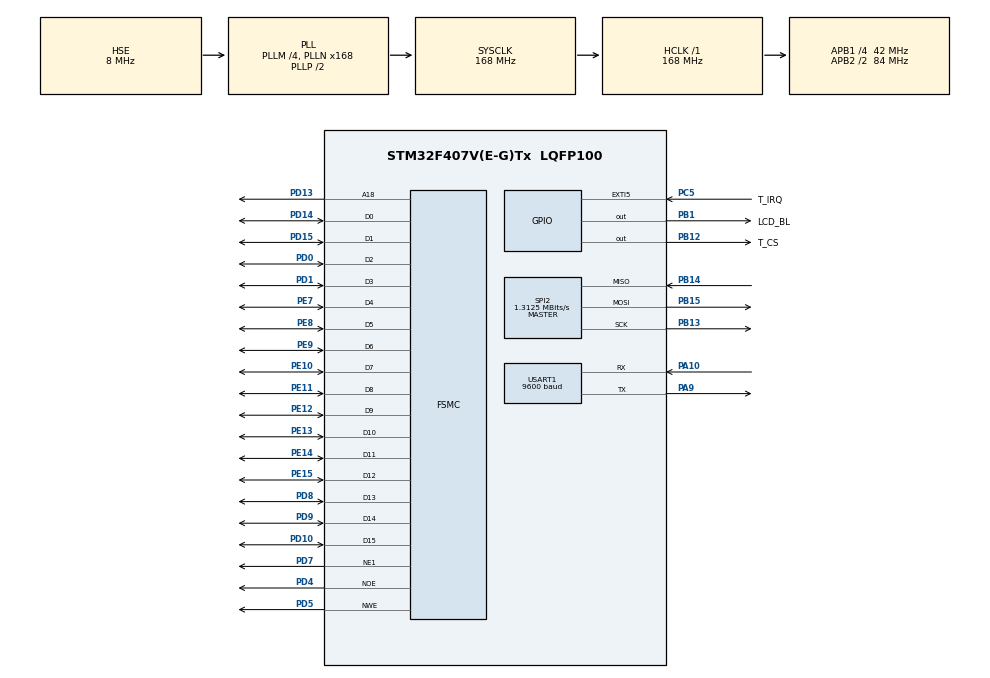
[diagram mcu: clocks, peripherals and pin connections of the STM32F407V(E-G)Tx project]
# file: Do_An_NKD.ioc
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FSMC.AddressSetupTime1=1
FSMC.BusTurnAroundDuration1=0
FSMC.DataSetupTime1=5
Mcu.Family=STM32F4
Mcu.Name=STM32F407V(E-G)Tx
Mcu.Package=LQFP100
NVIC.EXTI9_5_IRQn=true\:0\:0\:false\:false\:true\:true\:true\:true
NVIC.PriorityGroup=NVIC_PRIORITYGROUP_4
NVIC.USART1_IRQn=true\:0\:0\:false\:false\:true\:true\:true\:true
PA10.Mode=Asynchronous
PA10.Signal=USART1_RX
PA9.Mode=Asynchronous
PA9.Signal=USART1_TX
PB1.GPIO_Label=LCD_BL
PB1.Signal=GPIO_Output
PB12.GPIO_Label=T_CS
PB12.GPIO_PuPd=GPIO_PULLUP
PB12.GPIO_Speed=GPIO_SPEED_FREQ_HIGH
PB12.PinState=GPIO_PIN_SET
PB12.Signal=GPIO_Output
PB13.Mode=Full_Duplex_Master
PB13.Signal=SPI2_SCK
PB14.Mode=Full_Duplex_Master
PB14.Signal=SPI2_MISO
PB15.Mode=Full_Duplex_Master
PB15.Signal=SPI2_MOSI
PC5.GPIO_Label=T_IRQ
PC5.GPIO_ModeDefaultEXTI=GPIO_MODE_IT_FALLING
PC5.GPIO_PuPd=GPIO_PULLUP
PC5.Signal=GPXTI5
PD0.Mode=16b-d1
PD0.Signal=FSMC_D2
PD1.Mode=16b-d1
PD1.Signal=FSMC_D3
PD10.Mode=16b-d1
PD10.Signal=FSMC_D15
PD13.Mode=A18_1
PD13.Signal=FSMC_A18
PD14.Mode=16b-d1
PD14.Signal=FSMC_D0
PD15.Mode=16b-d1
PD15.Signal=FSMC_D1
PD4.Mode=Lcd1
PD4.Signal=FSMC_NOE
PD5.Mode=Lcd1
PD5.Signal=FSMC_NWE
PD7.Mode=NorPsramChipSelect1_1
PD7.Signal=FSMC_NE1
PD8.Mode=16b-d1
PD8.Signal=FSMC_D13
PD9.Mode=16b-d1
PD9.Signal=FSMC_D14
PE10.Mode=16b-d1
PE10.Signal=FSMC_D7
PE11.Mode=16b-d1
PE11.Signal=FSMC_D8
PE12.Mode=16b-d1
PE12.Signal=FSMC_D9
PE13.Mode=16b-d1
PE13.Signal=FSMC_D10
PE14.Mode=16b-d1
PE14.Signal=FSMC_D11
PE15.Mode=16b-d1
PE15.Signal=FSMC_D12
PE7.Mode=16b-d1
PE7.Signal=FSMC_D4
PE8.Mode=16b-d1
PE8.Signal=FSMC_D5
PE9.Mode=16b-d1
PE9.Signal=FSMC_D6
PH0-OSC_IN.Mode=HSE-External-Oscillator
PH0-OSC_IN.Signal=RCC_OSC_IN
PH1-OSC_OUT.Mode=HSE-External-Oscillator
PH1-OSC_OUT.Signal=RCC_OSC_OUT
ProjectManager.HeapSize=0x200
ProjectManager.StackSize=0x400
ProjectManager.TargetToolchain=STM32CubeIDE
RCC.48MHZClocksFreq_Value=84000000
RCC.AHBFreq_Value=168000000
RCC.APB1CLKDivider=RCC_HCLK_DIV4
RCC.APB1Freq_Value=42000000
RCC.APB1TimFreq_Value=84000000
RCC.APB2CLKDivider=RCC_HCLK_DIV2
RCC.APB2Freq_Value=84000000
RCC.APB2TimFreq_Value=168000000
RCC.CortexFreq_Value=168000000
RCC.HCLKFreq_Value=168000000
RCC.HSE_VALUE=8000000
RCC.HSI_VALUE=16000000
RCC.LSE_VALUE=32768
RCC.PLLM=4
RCC.PLLN=168
RCC.PLLSourceVirtual=RCC_PLLSOURCE_HSE
RCC.SYSCLKFreq_VALUE=168000000
RCC.SYSCLKSource=RCC_SYSCLKSOURCE_PLLCLK
RCC.VCOOutputFreq_Value=336000000
SPI2.BaudRatePrescaler=SPI_BAUDRATEPRESCALER_32
SPI2.CalculateBaudRate=1.3125 MBits/s
SPI2.Direction=SPI_DIRECTION_2LINES
SPI2.Mode=SPI_MODE_MASTER
SPI2.VirtualType=VM_MASTER
USART1.BaudRate=9600
USART1.VirtualMode=VM_ASYNC
board=custom

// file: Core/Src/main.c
/* USER CODE BEGIN Header */
/**
  ******************************************************************************
  * @file           : main.c
  * @brief          : Main program body
  ******************************************************************************
  * @attention
  *
  * Copyright (c) 2024 STMicroelectronics.
  * All rights reserved.
  *
  * This software is licensed under terms that can be found in the LICENSE file
  * in the root directory of this software component.
  * If no LICENSE file comes with this software, it is provided AS-IS.
  *
  ******************************************************************************
  */
/* USER CODE END Header */
#include "main.h"

/* USER CODE BEGIN Includes */
#include "ili9341.h"
#include <time.h>
#include <stdlib.h>
#include <cJSON.h>
#include <string.h>
#include "XPT2046_touch.h"
#include <stdio.h>
/* USER CODE END Includes */

/* USER CODE BEGIN PD */
#define min(a,b) (((a)<(b))?(a):(b))
#define BUFFER_SIZE 1024
#define PORTRAIT 0
#define NOBACKCOLOR 0
#define NHATRANG 0
#define SAIGON 1
#define HANOI 2
#define TAMPERE 3
#define ARNHEM 4
#define SYDNEY 5
#define MAX_PASSWORD_LENGTH 32
#define MAX_NETWORKS 12
#define MAX_SSID_LENGTH 32
/* USER CODE END PD */

SPI_HandleTypeDef hspi2;

UART_HandleTypeDef huart1;

SRAM_HandleTypeDef hsram1;

/* USER CODE BEGIN PV */
//URLs to call API
const char* nhaTrangURL = "http://api.open-meteo.com/v1/forecast?latitude=12.2451&longitude=109.1943&current=temperature_2m,relative_humidity_2m,is_day&daily=weather_code&timezone=auto\r\n";
const char* saiGonURL = "http://api.open-meteo.com/v1/forecast?latitude=10.823&longitude=106.6296&current=temperature_2m,relative_humidity_2m,is_day&daily=weather_code&timezone=auto\r\n";
const char* haNoiURL = "http://api.open-meteo.com/v1/forecast?latitude=20.9714&longitude=105.7788&current=temperature_2m,relative_humidity_2m,is_day&daily=weather_code&timezone=auto\r\n";
const char* tampereURL = "http://api.open-meteo.com/v1/forecast?latitude=61.4991&longitude=23.7871&current=temperature_2m,relative_humidity_2m,is_day&daily=weather_code&timezone=auto\r\n";
const char* arnhemURL = "http://api.open-meteo.com/v1/forecast?latitude=51.98&longitude=5.9111&current=temperature_2m,relative_humidity_2m,is_day&daily=weather_code&timezone=auto\r\n";
const char* sydneyURL = "http://api.open-meteo.com/v1/forecast?latitude=-33.8678&longitude=151.2073&current=temperature_2m,relative_humidity_2m,is_day&daily=weather_code&timezone=auto\r\n";

//Request for garden info
const char* requestGardenInfo = "!";

//Variables for handling received UART data
uint8_t tempBuffer[1];
uint8_t rxBuffer[BUFFER_SIZE];
uint16_t rxIndex = 0;
uint8_t rxComplete = 0;

//Variables for switching between UIs
uint16_t xCoordinates = 0, yCoordinates = 0;
uint8_t wifiList = 0;
uint8_t wifiConnect = 0;
uint8_t weatherForecast = 0;
uint8_t showWeather = 0;
uint8_t gardenState = 0;
uint8_t showGardenState = 0;
uint8_t menu = 1;
bool allowTouch = true;

//Variables for weather data handling
int weather[7];
int currentTemperature = 0;
int currentHumidity = 0;
int currentCity = 0;
uint16_t weatherIndex = 0;
uint16_t dateIndex = 0;
uint8_t processComplete = 0;
uint8_t isDay = 0;
char* date[7];

//Request for wifi info
const char* requestWifiInfo = "#";

//Variables for wifi menu
typedef struct
{
    char ssid[MAX_SSID_LENGTH];
    int secure;
} WiFiNetwork;
WiFiNetwork networkList[MAX_NETWORKS];
int networkCount = 0;
char wifiPassword[MAX_PASSWORD_LENGTH + 1] = {0};
char selectedSSID[MAX_SSID_LENGTH];
char wifiConnectionInfo[100];
uint8_t passwordIndex = 0;
const char* keyMap[] =
{
	"1", "2", "3", "4", "5", "6", "7", "8", "9", "0",
	"q", "w", "e", "r", "t", "y", "u", "i", "o", "p",
    "a", "s", "d", "f", "g", "h", "j", "k", "l", "<-",
    "z", "x", "c", "v", "b", "n", "m", "^", "Del", "Del"
};
bool keyboardShift = false;
const uint16_t keyboardX0 = 0;
const uint16_t keyboardY0 = 200;
const uint16_t keyboardButtonWidth = 24;
const uint16_t keyboardButtonHeight = 30;

//Variables for garden state
int gardenTemperature = 0;
int gardenHumidity = 0;
/* USER CODE END PV */

void SystemClock_Config(void);
static void MX_GPIO_Init(void);
static void MX_FSMC_Init(void);
static void MX_USART1_UART_Init(void);
static void MX_SPI2_Init(void);

/* USER CODE BEGIN 0 */
void drawBackIcon();
void drawKeyboard();
char applyShift(char character);
void handleKeyboardTouch();
void handleWifiListTouch();
void updatePassword();
void wifiMenu();
void connectToWifi();
void weatherForecastMenu();
void gardenStateMenu();
void mainMenu();
void drawBufferScreen();
void checkCoordinates();
void drawWeather(uint16_t xPosition, uint16_t yPosition, int weatherCode);
void weatherForecastInterface();
void gardenStateInterface();
void drawInterface();
void reformatDate();
void sendAPIURL(uint16_t chooseCity);
void sendGardenStateRequest();
void sendWifiRequest();
void HAL_UART_RxCpltCallback(UART_HandleTypeDef *huart);
void processData(const char *jsonData);
void HAL_GPIO_EXTI_Callback(uint16_t GPIO_Pin);
void resetBuffer();
void resetPassword();
/* USER CODE END 0 */

int main(void)
{

  /* MCU Configuration--------------------------------------------------------*/

  /* Reset of all peripherals, Initializes the Flash interface and the Systick. */
  HAL_Init();

  /* Configure the system clock */
  SystemClock_Config();

  /* Initialize all configured peripherals */
  MX_GPIO_Init();
  MX_FSMC_Init();
  MX_USART1_UART_Init();
  MX_SPI2_Init();
  /* USER CODE BEGIN 2 */
  LCD_BL_ON();
  lcdInit();
  lcdSetOrientation(PORTRAIT);
  HAL_UART_Receive_IT(&huart1, (uint8_t*)tempBuffer, 1);
  mainMenu();
  /* USER CODE END 2 */

  /* Infinite loop */
  /* USER CODE BEGIN WHILE */
  while (1)
  {
	  allowTouch = true;
	  if(rxComplete)
	  {
		  rxComplete = 0;
		  rxIndex = 0;
		  processData((const char*) rxBuffer);
		  if (processComplete)
		  {
			  processComplete = 0;
			  weatherIndex = 0;
			  dateIndex = 0;
			  drawInterface();
		  }
		  resetBuffer();
		  HAL_UART_Receive_IT(&huart1, (uint8_t*)tempBuffer, 1);
	  }
	  HAL_Delay(500);
    /* USER CODE END WHILE */

  }
}

void SystemClock_Config(void)
{
  RCC_OscInitTypeDef RCC_OscInitStruct = {0};
  RCC_ClkInitTypeDef RCC_ClkInitStruct = {0};

  /** Configure the main internal regulator output voltage
  */
  __HAL_RCC_PWR_CLK_ENABLE();
  __HAL_PWR_VOLTAGESCALING_CONFIG(PWR_REGULATOR_VOLTAGE_SCALE1);

  /** Initializes the RCC Oscillators according to the specified parameters
  * in the RCC_OscInitTypeDef structure.
  */
  RCC_OscInitStruct.OscillatorType = RCC_OSCILLATORTYPE_HSE;
  RCC_OscInitStruct.HSEState = RCC_HSE_ON;
  RCC_OscInitStruct.PLL.PLLState = RCC_PLL_ON;
  RCC_OscInitStruct.PLL.PLLSource = RCC_PLLSOURCE_HSE;
  RCC_OscInitStruct.PLL.PLLM = 4;
  RCC_OscInitStruct.PLL.PLLN = 168;
  RCC_OscInitStruct.PLL.PLLP = RCC_PLLP_DIV2;
  RCC_OscInitStruct.PLL.PLLQ = 4;
  if (HAL_RCC_OscConfig(&RCC_OscInitStruct) != HAL_OK)
  {
    Error_Handler();
  }

  /** Initializes the CPU, AHB and APB buses clocks
  */
  RCC_ClkInitStruct.ClockType = RCC_CLOCKTYPE_HCLK|RCC_CLOCKTYPE_SYSCLK
                              |RCC_CLOCKTYPE_PCLK1|RCC_CLOCKTYPE_PCLK2;
  RCC_ClkInitStruct.SYSCLKSource = RCC_SYSCLKSOURCE_PLLCLK;
  RCC_ClkInitStruct.AHBCLKDivider = RCC_SYSCLK_DIV1;
  RCC_ClkInitStruct.APB1CLKDivider = RCC_HCLK_DIV4;
  RCC_ClkInitStruct.APB2CLKDivider = RCC_HCLK_DIV2;

  if (HAL_RCC_ClockConfig(&RCC_ClkInitStruct, FLASH_LATENCY_5) != HAL_OK)
  {
    Error_Handler();
  }
}

static void MX_SPI2_Init(void)
{

  /* SPI2 parameter configuration*/
  hspi2.Instance = SPI2;
  hspi2.Init.Mode = SPI_MODE_MASTER;
  hspi2.Init.Direction = SPI_DIRECTION_2LINES;
  hspi2.Init.DataSize = SPI_DATASIZE_8BIT;
  hspi2.Init.CLKPolarity = SPI_POLARITY_LOW;
  hspi2.Init.CLKPhase = SPI_PHASE_1EDGE;
  hspi2.Init.NSS = SPI_NSS_SOFT;
  hspi2.Init.BaudRatePrescaler = SPI_BAUDRATEPRESCALER_32;
  hspi2.Init.FirstBit = SPI_FIRSTBIT_MSB;
  hspi2.Init.TIMode = SPI_TIMODE_DISABLE;
  hspi2.Init.CRCCalculation = SPI_CRCCALCULATION_DISABLE;
  hspi2.Init.CRCPolynomial = 10;
  if (HAL_SPI_Init(&hspi2) != HAL_OK)
  {
    Error_Handler();
  }

}

static void MX_USART1_UART_Init(void)
{

  huart1.Instance = USART1;
  huart1.Init.BaudRate = 9600;
  huart1.Init.WordLength = UART_WORDLENGTH_8B;
  huart1.Init.StopBits = UART_STOPBITS_1;
  huart1.Init.Parity = UART_PARITY_NONE;
  huart1.Init.Mode = UART_MODE_TX_RX;
  huart1.Init.HwFlowCtl = UART_HWCONTROL_NONE;
  huart1.Init.OverSampling = UART_OVERSAMPLING_16;
  if (HAL_UART_Init(&huart1) != HAL_OK)
  {
    Error_Handler();
  }

}

static void MX_GPIO_Init(void)
{
  GPIO_InitTypeDef GPIO_InitStruct = {0};

  /* GPIO Ports Clock Enable */
  __HAL_RCC_GPIOH_CLK_ENABLE();
  __HAL_RCC_GPIOC_CLK_ENABLE();
  __HAL_RCC_GPIOB_CLK_ENABLE();
  __HAL_RCC_GPIOE_CLK_ENABLE();
  __HAL_RCC_GPIOD_CLK_ENABLE();
  __HAL_RCC_GPIOA_CLK_ENABLE();

  /*Configure GPIO pin Output Level */
  HAL_GPIO_WritePin(LCD_BL_GPIO_Port, LCD_BL_Pin, GPIO_PIN_RESET);

  /*Configure GPIO pin Output Level */
  HAL_GPIO_WritePin(T_CS_GPIO_Port, T_CS_Pin, GPIO_PIN_SET);

  /*Configure GPIO pin : T_IRQ_Pin */
  GPIO_InitStruct.Pin = T_IRQ_Pin;
  GPIO_InitStruct.Mode = GPIO_MODE_IT_FALLING;
  GPIO_InitStruct.Pull = GPIO_PULLUP;
  HAL_GPIO_Init(T_IRQ_GPIO_Port, &GPIO_InitStruct);

  /*Configure GPIO pin : LCD_BL_Pin */
  GPIO_InitStruct.Pin = LCD_BL_Pin;
  GPIO_InitStruct.Mode = GPIO_MODE_OUTPUT_PP;
  GPIO_InitStruct.Pull = GPIO_NOPULL;
  GPIO_InitStruct.Speed = GPIO_SPEED_FREQ_LOW;
  HAL_GPIO_Init(LCD_BL_GPIO_Port, &GPIO_InitStruct);

  /*Configure GPIO pin : T_CS_Pin */
  GPIO_InitStruct.Pin = T_CS_Pin;
  GPIO_InitStruct.Mode = GPIO_MODE_OUTPUT_PP;
  GPIO_InitStruct.Pull = GPIO_PULLUP;
  GPIO_InitStruct.Speed = GPIO_SPEED_FREQ_HIGH;
  HAL_GPIO_Init(T_CS_GPIO_Port, &GPIO_InitStruct);

  /* EXTI interrupt init*/
  HAL_NVIC_SetPriority(EXTI9_5_IRQn, 0, 0);
  HAL_NVIC_EnableIRQ(EXTI9_5_IRQn);

}

/* FSMC initialization function */
static void MX_FSMC_Init(void)
{

  FSMC_NORSRAM_TimingTypeDef Timing = {0};

  /** Perform the SRAM1 memory initialization sequence
  */
  hsram1.Instance = FSMC_NORSRAM_DEVICE;
  hsram1.Extended = FSMC_NORSRAM_EXTENDED_DEVICE;
  /* hsram1.Init */
  hsram1.Init.NSBank = FSMC_NORSRAM_BANK1;
  hsram1.Init.DataAddressMux = FSMC_DATA_ADDRESS_MUX_DISABLE;
  hsram1.Init.MemoryType = FSMC_MEMORY_TYPE_SRAM;
  hsram1.Init.MemoryDataWidth = FSMC_NORSRAM_MEM_BUS_WIDTH_16;
  hsram1.Init.BurstAccessMode = FSMC_BURST_ACCESS_MODE_DISABLE;
  hsram1.Init.WaitSignalPolarity = FSMC_WAIT_SIGNAL_POLARITY_LOW;
  hsram1.Init.WrapMode = FSMC_WRAP_MODE_DISABLE;
  hsram1.Init.WaitSignalActive = FSMC_WAIT_TIMING_BEFORE_WS;
  hsram1.Init.WriteOperation = FSMC_WRITE_OPERATION_ENABLE;
  hsram1.Init.WaitSignal = FSMC_WAIT_SIGNAL_DISABLE;
  hsram1.Init.ExtendedMode = FSMC_EXTENDED_MODE_DISABLE;
  hsram1.Init.AsynchronousWait = FSMC_ASYNCHRONOUS_WAIT_DISABLE;
  hsram1.Init.WriteBurst = FSMC_WRITE_BURST_DISABLE;
  hsram1.Init.PageSize = FSMC_PAGE_SIZE_NONE;
  /* Timing */
  Timing.AddressSetupTime = 1;
  Timing.AddressHoldTime = 15;
  Timing.DataSetupTime = 5;
  Timing.BusTurnAroundDuration = 0;
  Timing.CLKDivision = 16;
  Timing.DataLatency = 17;
  Timing.AccessMode = FSMC_ACCESS_MODE_A;
  /* ExtTiming */

  if (HAL_SRAM_Init(&hsram1, &Timing, NULL) != HAL_OK)
  {
    Error_Handler( );
  }

}

/* USER CODE BEGIN 4 */
void drawBackIcon()
{
	lcdFillRoundRect(0, 0, 27, 23, 8, COLOR_WHITE);
	lcdFillRect(10, 7, 13, 8, COLOR_BLACK);
	lcdFillTriangle(1, 11, 13, 2, 13, 20, COLOR_BLACK);
}

void drawKeyboard()
{
	lcdSetTextFont(&Font12);
	lcdSetTextColor(COLOR_BLACK, COLOR_BLACK);
	for (int y = 200; y < 320; y++)
	{
		for (int x = 0; x < 240; x++)
		{
			lcdDrawPixel(x, y, COLOR_WHITE);
		}
	}
    int column = 0, row = 0;

    for (int i = 0; i < (sizeof(keyMap) / sizeof(keyMap[0])) - 1; i++)
    {
    	int x = keyboardX0 + column * keyboardButtonWidth;
    	int y = keyboardY0 + row * keyboardButtonHeight;
        lcdSetCursor(x + 8, y + 10);
        lcdPrintfNoBackColor((char*)keyMap[i]);

        column++;
        if (column == 10)
        {
            column = 0;
            row++;
        }
    }
    lcdDrawLine(0, 230, 240, 230, COLOR_BLACK);
    lcdDrawLine(0, 260, 240, 260, COLOR_BLACK);
    lcdDrawLine(0, 290, 240, 290, COLOR_BLACK);
    lcdDrawLine(0, 200, 240, 200, COLOR_BLACK);
    for (int i = 1; i <= 8; i++)
    {
    	int x = keyboardX0 + i * keyboardButtonWidth;
    	lcdDrawLine(x, 200, x, 320, COLOR_BLACK);
    }
    lcdDrawLine(216, 200, 216, 290, COLOR_BLACK);
    lcdDrawLine(239, 230, 239, 320, COLOR_BLACK);
}

char applyShift(char character)
{
    if (character >= 'a' && character <= 'z')
    {
        return character - ('a' - 'A');
    }
    return character;
}

void handleKeyboardTouch()
{
	if ((yCoordinates <= 23 && xCoordinates <= 27) && wifiConnect == 1)
	{
		wifiMenu();
		return;
	}
	lcdSetTextColor(COLOR_WHITE, COLOR_BLACK);
	uint8_t column = (xCoordinates - keyboardX0) / keyboardButtonWidth;
	if (xCoordinates == 240)
	{
		column = (xCoordinates - keyboardX0 - 1) / keyboardButtonWidth;
	}
    uint8_t row = (yCoordinates - keyboardY0) / keyboardButtonHeight;
    uint8_t keyIndex = row * 10 + column;
    if (keyIndex >= sizeof(keyMap) / sizeof(keyMap[0])) return;

    const char* key = keyMap[keyIndex];
    if (strcmp(key, "Del") == 0)
    {
    	if (passwordIndex > 0)
    	{
    		passwordIndex--;
    		wifiPassword[passwordIndex] = '\0';
    	}
    }
    else if (strcmp(key, "^") == 0)
    {
        keyboardShift = !keyboardShift;
    }
    else if (strcmp(key, "<-") == 0)
    {
    	sprintf(wifiConnectionInfo, "{\"ssid\":\"%s\", \"password\":\"%s\"}+", selectedSSID, wifiPassword);
    	HAL_UART_Transmit(&huart1, (uint8_t*)wifiConnectionInfo, strlen(wifiConnectionInfo), HAL_MAX_DELAY);
    	resetPassword();
    	drawAlignedText("Sent info, exit this screen then", 115, 240, 12, NOBACKCOLOR);
    	drawAlignedText("reconnect if typed password wrong", 130, 240, 12, NOBACKCOLOR);
    }
    else if (passwordIndex <= MAX_PASSWORD_LENGTH)
    {
    	char character = key[0];
    	if (keyboardShift)
    	{
    	    character = applyShift(character);
    	}
    	wifiPassword[passwordIndex++] = character;
    	wifiPassword[passwordIndex] = '\0';
    }
    updatePassword();
    drawAlignedText(wifiPassword, 100, 240, 12, NOBACKCOLOR);
}

void handleWifiListTouch()
{
	if ((yCoordinates <= 23 && xCoordinates <= 27) && wifiList == 1)
	{
		mainMenu();
		return;
	}
	uint8_t column = xCoordinates / 120;
	uint8_t row = (yCoordinates - 25) / 50;
	strncpy(selectedSSID, networkList[row + column * 6].ssid, MAX_SSID_LENGTH - 1);
	selectedSSID[MAX_SSID_LENGTH - 1] = '\0';
	connectToWifi();
}

void updatePassword()
{
	for (int y = 100; y < 115; y++)
	{
		for (int x = 0; x < 240; x++)
		{
			lcdDrawPixel(x, y, COLOR_BLACK);
		}
	}
}

void wifiMenu()
{
	lcdFillRGB(COLOR_BLACK);
	lcdSetTextColor(COLOR_BLACK, COLOR_BLACK);
	lcdSetTextFont(&Font12);
	drawBackIcon();
	wifiList = 1;
	wifiConnect = 0;
	menu = 0;
	for (int i = 0; i < networkCount / 2; i++)
	{
		lcdFillRoundRect(0, 25 + 50 * i, 118, 45, 10, COLOR_WHITE);
		drawAlignedText(networkList[i].ssid, 45 + 50 * i, 120, 12, NOBACKCOLOR);
		lcdFillRoundRect(120, 25 + 50 * i, 122, 45, 10, COLOR_WHITE);
		drawAlignedText(networkList[i + 6].ssid, 45 + 50 * i, 360, 12, NOBACKCOLOR);
	}
	resetPassword();
}

void connectToWifi()
{
	lcdFillRGB(COLOR_BLACK);
	drawKeyboard();
	lcdSetTextColor(COLOR_WHITE, COLOR_BLACK);
	drawBackIcon();
	wifiList = 0;
	wifiConnect = 1;
	drawAlignedText("Wifi name", 55, 240, 12, NOBACKCOLOR);
	drawAlignedText(selectedSSID, 70, 240, 12, NOBACKCOLOR);
	drawAlignedText("Enter password", 85, 240, 12, NOBACKCOLOR);
}

void weatherForecastMenu()
{
	lcdSetTextFont(&Font16);
	lcdSetTextColor(COLOR_WHITE, COLOR_BLACK);
	lcdFillRGB(COLOR_BLACK);
	drawBackIcon();
	weatherForecast = 1;
	showWeather = 0;
	menu = 0;
	drawAlignedText(" Choose a location", 0, 240, 16, NOBACKCOLOR);

	lcdSetTextColor(COLOR_BLACK, COLOR_BLACK);
	lcdFillRoundRect(0, 32, 240, 40, 10, COLOR_WHITE);
	drawAlignedText("Sai Gon", 45, 240, 16, NOBACKCOLOR);

	lcdFillRoundRect(0, 80, 240, 40, 10, COLOR_WHITE);
	drawAlignedText("Nha Trang", 93, 240, 16, NOBACKCOLOR);

	lcdFillRoundRect(0, 128, 240, 40, 10, COLOR_WHITE);
	drawAlignedText("Ha Noi", 141, 240, 16, NOBACKCOLOR);

	lcdFillRoundRect(0, 176, 240, 40, 10, COLOR_WHITE);
	drawAlignedText("Tampere", 189, 240, 16, NOBACKCOLOR);

	lcdFillRoundRect(0, 224, 240, 40, 10, COLOR_WHITE);
	drawAlignedText("Arnhem", 237, 240, 16, NOBACKCOLOR);

	lcdFillRoundRect(0, 272, 240, 40, 10, COLOR_WHITE);
	drawAlignedText("Sydney", 285, 240, 16, NOBACKCOLOR);
}

void gardenStateMenu()
{
	lcdSetTextFont(&Font16);
	lcdSetTextColor(COLOR_WHITE, COLOR_BLACK);
	lcdFillRGB(COLOR_BLACK);
	drawBackIcon();
	gardenState = 1;
	showGardenState = 0;
	menu = 0;
	drawAlignedText(" Choose a garden", 0, 240, 16, NOBACKCOLOR);

	lcdSetTextColor(COLOR_BLACK, COLOR_BLACK);
	lcdFillRoundRect(0, 32, 240, 40, 10, COLOR_WHITE);
	drawAlignedText("Phu Nhuan", 45, 240, 16, NOBACKCOLOR);
}

void mainMenu()
{
	lcdSetTextFont(&Font16);
	lcdSetTextColor(COLOR_WHITE, COLOR_BLACK);
	lcdFillRGB(COLOR_BLACK);
	menu = 1;
	gardenState = 0;
	weatherForecast = 0;
	wifiList = 0;
	drawAlignedText("Choose an option", 0, 240, 16, NOBACKCOLOR);

	lcdSetTextColor(COLOR_BLACK, COLOR_BLACK);
	lcdFillRoundRect(0, 32, 240, 40, 10, COLOR_WHITE);
	drawAlignedText("Connect to WiFi", 45, 240, 16, NOBACKCOLOR);

	lcdFillRoundRect(0, 80, 240, 40, 10, COLOR_WHITE);
	drawAlignedText("Weather forecast", 93, 240, 16, NOBACKCOLOR);

	lcdFillRoundRect(0, 128, 240, 40, 10, COLOR_WHITE);
	drawAlignedText("Show garden state", 141, 240, 16, NOBACKCOLOR);
}

void drawBufferScreen()
{
	menu = 0;
	lcdFillRGB(COLOR_BLACK);
	drawBackIcon();
	lcdSetTextColor(COLOR_WHITE, COLOR_BLACK);
	drawAlignedText("Fetching data", 160, 240, 16, NOBACKCOLOR);
}

void checkCoordinates()
{
	if ((yCoordinates >= 32 && yCoordinates <= 72) && menu == 1)
	{
		drawBufferScreen();
		sendWifiRequest();
		wifiList = 1;
	}
	else if ((yCoordinates >= 80 && yCoordinates <= 120 && menu == 1) || (yCoordinates <= 23 && xCoordinates <= 27 && showWeather == 1))
	{
		weatherForecastMenu();
	}
	else if ((yCoordinates >= 128 && yCoordinates <= 168 && menu == 1) || (yCoordinates <= 23 && xCoordinates <= 27 && showGardenState == 1))
	{
		gardenStateMenu();
	}
	else if ((yCoordinates <= 23 && xCoordinates <= 27) && menu != 1)
	{
		mainMenu();
	}
	else if ((yCoordinates >= 32 && yCoordinates <= 72) && weatherForecast == 1)
	{
		drawBufferScreen();
		sendAPIURL(SAIGON);
		currentCity = SAIGON;
	}
	else if ((yCoordinates >= 80 && yCoordinates <= 120) && weatherForecast == 1)
	{
		drawBufferScreen();
		sendAPIURL(NHATRANG);
		currentCity = NHATRANG;
	}
	else if ((yCoordinates >= 128 && yCoordinates <= 168) && weatherForecast == 1)
	{
		drawBufferScreen();
		sendAPIURL(HANOI);
		currentCity = HANOI;
	}
	else if ((yCoordinates >= 176 && yCoordinates <= 216) && weatherForecast == 1)
	{
		drawBufferScreen();
		sendAPIURL(TAMPERE);
		currentCity = TAMPERE;
	}
	else if ((yCoordinates >= 224 && yCoordinates <= 264) && weatherForecast == 1)
	{
		drawBufferScreen();
		sendAPIURL(ARNHEM);
		currentCity = ARNHEM;
	}
	else if ((yCoordinates >= 272 && yCoordinates <= 312) && weatherForecast == 1)
	{
		drawBufferScreen();
		sendAPIURL(SYDNEY);
		currentCity = SYDNEY;
	}

	else if ((yCoordinates >= 32 && yCoordinates <= 72) && gardenState == 1)
	{
		drawBufferScreen();
		sendGardenStateRequest();
	}
}

void drawWeather(uint16_t xPosition, uint16_t yPosition, int weatherCode)
{
	if (weatherCode == 0)
	{
		drawClearDay(xPosition, yPosition);
	}
	else if (weatherCode >= 1 && weatherCode <= 3)
	{
		drawCloudyDay(xPosition, yPosition);
	}
	else if ((weatherCode >= 51 && weatherCode <= 67) || (weatherCode >= 80 && weatherCode <= 82))
	{
		drawRainyDay(xPosition, yPosition);
	}
	else if ((weatherCode >= 71 && weatherCode <= 77) || (weatherCode == 85 || weatherCode == 86))
	{
		drawSnowyDay(xPosition, yPosition);
	}
	else if (weatherCode >= 95 && weatherCode <= 99)
	{
		drawStormyDay(xPosition, yPosition);
	}
	else if (weatherCode == 45 || weatherCode == 48)
	{
		drawFoggyDay(xPosition, yPosition);
	}
}

void weatherForecastInterface()
{
	showWeather = 1;
	uint16_t color;
	if (isDay == 0)
	{
		lcdDrawImage(0, 0, &imageNight);
		color = COLOR_NAVY;
		lcdSetTextColor(COLOR_WHITE, COLOR_BLACK);
	}
	else
	{
		lcdDrawImage(0, 0, &imageDay);
		color = COLOR_CYAN;
		lcdSetTextColor(COLOR_BLACK, COLOR_BLACK);
	}
	drawBackIcon();

	for (int y = 160; y < 320; y++)
	{
		for (int x = 0; x < 240; x++)
		{
		    lcdDrawPixel(x, y, color);
		}
	}

	lcdSetTextFont(&Font12);

	reformatDate();

	drawWeather(40, 190, weather[0]);
	lcdSetCursor(25, 160);
	lcdPrintfNoBackColor(date[0]);

	drawWeather(90, 190, weather[1]);
	lcdSetCursor(75, 160);
	lcdPrintfNoBackColor(date[1]);

	drawWeather(150, 190, weather[2]);
	lcdSetCursor(135, 160);
	lcdPrintfNoBackColor(date[2]);

	drawWeather(200, 190, weather[3]);
	lcdSetCursor(185, 160);
	lcdPrintfNoBackColor(date[3]);

	drawWeather(65, 270, weather[4]);
	lcdSetCursor(50, 240);
	lcdPrintfNoBackColor(date[4]);

	drawWeather(120, 270, weather[5]);
	lcdSetCursor(105, 240);
	lcdPrintfNoBackColor(date[5]);

	drawWeather(175, 270, weather[6]);
	lcdSetCursor(160, 240);
	lcdPrintfNoBackColor(date[6]);

	lcdSetCursor(80, 110);
	lcdPrintfNoBackColor("Humidity: %d%%", currentHumidity);
	lcdSetTextFont(&Font20);
	lcdSetCursor(110, 90);
	lcdPrintfNoBackColor("%d", currentTemperature);

	switch (currentCity)
	{
		case NHATRANG:
			drawAlignedText("Nha Trang", 10, 240, 16, NOBACKCOLOR);
			break;
		case SAIGON:
			drawAlignedText("Sai Gon", 10, 240, 16, NOBACKCOLOR);
			break;
		case HANOI:
			drawAlignedText("Ha Noi", 10, 240, 16, NOBACKCOLOR);
			break;
		case TAMPERE:
			drawAlignedText("Tampere", 10, 240, 16, NOBACKCOLOR);
			break;
		case ARNHEM:
			drawAlignedText("Arnhem", 10, 240, 16, NOBACKCOLOR);
			break;
		case SYDNEY:
			drawAlignedText("Sydney", 10, 240, 16, NOBACKCOLOR);
			break;
	}
}

void gardenStateInterface()
{
	showGardenState = 1;
	lcdDrawImage(0, 0, &imageDay);
	lcdSetTextColor(COLOR_BLACK, COLOR_BLACK);
	drawBackIcon();
	for (int y = 160; y < 320; y++)
	{
		for (int x = 0; x < 240; x++)
		{
			lcdDrawPixel(x, y, COLOR_CYAN);
		}
	}
	lcdSetTextFont(&Font20);
	lcdSetCursor(110, 90);
	lcdPrintfNoBackColor("%d", gardenTemperature);
	lcdSetTextFont(&Font12);
	lcdSetCursor(80, 110);
	lcdPrintfNoBackColor("Humidity: %d%%", gardenHumidity);
	drawAlignedText("Currently in: Phu Nhuan", 10, 240, 12, NOBACKCOLOR);
	if (gardenHumidity <= 80 || gardenTemperature >= 30)
	{
		drawAlignedText("Please water your garden!", 240, 240, 12, NOBACKCOLOR);
		if (gardenHumidity <= 80)
		{
			drawAlignedText("Problem: Low humidity", 270, 240, 12, NOBACKCOLOR);
			return;
		}
		drawAlignedText("Problem: High temperature", 270, 240, 12, NOBACKCOLOR);
	}
}

void drawInterface()
{
	if (wifiList == 1)
	{
		wifiMenu();
	}
	else if (weatherForecast == 1)
	{
		weatherForecastInterface();
	}
	else if (gardenState == 1)
	{
		gardenStateInterface();
	}
}

void reformatDate()
{
	char temp[6];
	for (int i = 0; i < 7; i++)
	{
	    if (date[i])
	    {
	        strncpy(temp, &date[i][8], 2);
	        temp[2] = '-';
	        strncpy(&temp[3], &date[i][5], 2);
	        temp[5] = '\0';
	        strcpy(date[i], temp);
	    }
	}
}

void sendAPIURL(uint16_t chooseCity)
{
    switch(chooseCity)
    {
    	case NHATRANG:
    		HAL_UART_Transmit(&huart1, (uint8_t*)nhaTrangURL, strlen(nhaTrangURL), HAL_MAX_DELAY);
    		break;
    	case SAIGON:
    		HAL_UART_Transmit(&huart1, (uint8_t*)saiGonURL, strlen(saiGonURL), HAL_MAX_DELAY);
    		break;
    	case HANOI:
    		HAL_UART_Transmit(&huart1, (uint8_t*)haNoiURL, strlen(haNoiURL), HAL_MAX_DELAY);
    		break;
    	case TAMPERE:
    		HAL_UART_Transmit(&huart1, (uint8_t*)tampereURL, strlen(tampereURL), HAL_MAX_DELAY);
    		break;
    	case ARNHEM:
    		HAL_UART_Transmit(&huart1, (uint8_t*)arnhemURL, strlen(arnhemURL), HAL_MAX_DELAY);
    		break;
    	case SYDNEY:
    		HAL_UART_Transmit(&huart1, (uint8_t*)sydneyURL, strlen(sydneyURL), HAL_MAX_DELAY);
    		break;
    }
}

void sendGardenStateRequest()
{
	HAL_UART_Transmit(&huart1, (uint8_t*)requestGardenInfo, strlen(requestGardenInfo), HAL_MAX_DELAY);
}

void sendWifiRequest()
{
	HAL_UART_Transmit(&huart1, (uint8_t*)requestWifiInfo, strlen(requestWifiInfo), HAL_MAX_DELAY);
}

void HAL_UART_RxCpltCallback(UART_HandleTypeDef *huart)
{
	if (rxIndex < BUFFER_SIZE - 1)
	{
		if (tempBuffer[0] == '!')
		{
			rxComplete = 1;
			return;
		}
		else if (tempBuffer[0] == '?')
		{
			lcdPrintf("Error fetching data\n");
			lcdPrintf("Go back to menu!\n");
			rxIndex = 0;
			resetBuffer();
			HAL_UART_Receive_IT(&huart1, (uint8_t*)tempBuffer, 1);
			return;
		}
		rxBuffer[rxIndex++] = tempBuffer[0];
	}
	else
	{
	    rxIndex = 0;
	}
	HAL_UART_Receive_IT(&huart1, (uint8_t*)tempBuffer, 1);
}

void processData(const char *jsonData)
{
    cJSON *root = cJSON_Parse(jsonData);
    if (root == NULL)
    {
        lcdPrintf("Error parsing JSON\n");
        lcdPrintf("Go back to menu!\n");
        cJSON_Delete(root);
        return;
    }

    if(gardenState == 1)
    {
    	cJSON *gardenTemp = cJSON_GetObjectItem(root, "gardenTemperature");
    	cJSON *gardenHumid = cJSON_GetObjectItem(root, "gardenHumidity");
    	if (gardenTemp)
    	{
    		gardenTemperature = gardenTemp->valueint;
    	}
    	if (gardenHumid)
    	{
    		gardenHumidity = gardenHumid->valueint;
    	}
    	processComplete = 1;
    	cJSON_Delete(root);
    	return;
    }
    else if (wifiList == 1)
    {
    	cJSON *networks = cJSON_GetObjectItem(root, "networks");
    	int networkIndex = 0;
    	cJSON *item = NULL;
    	cJSON_ArrayForEach(item, networks)
    	{
    	    if (networkIndex >= MAX_NETWORKS) break;

    	    cJSON *ssid = cJSON_GetObjectItem(item, "ssid");
    	    cJSON *secure = cJSON_GetObjectItem(item, "secure");

    	    if (cJSON_IsString(ssid) && cJSON_IsBool(secure))
    	    {
    	        strncpy(networkList[networkIndex].ssid, ssid->valuestring, MAX_SSID_LENGTH - 1);
    	        networkList[networkIndex].ssid[MAX_SSID_LENGTH - 1] = '\0';
    	        networkList[networkIndex].secure = cJSON_IsTrue(secure);
    	        networkIndex++;
    	    }
    	}

    	networkCount = networkIndex;
    	processComplete = 1;
    	cJSON_Delete(root);
        return;
    }

    cJSON *current = cJSON_GetObjectItem(root, "current");
    if (current)
    {
        cJSON *temperature = cJSON_GetObjectItem(current, "temperature_2m");
        cJSON *humidity = cJSON_GetObjectItem(current, "relative_humidity_2m");
        cJSON *dayOrNight = cJSON_GetObjectItem(current, "is_day");
        if (temperature)
        {
        	currentTemperature = temperature->valueint;
        }
        if (humidity)
        {
        	currentHumidity = humidity->valueint;
        }
        if (dayOrNight)
        {
        	isDay = dayOrNight->valueint;
        }
    }

    cJSON *daily = cJSON_GetObjectItem(root, "daily");
    if (daily)
    {
    	cJSON *weatherCodes = cJSON_GetObjectItem(daily, "weather_code");
    	cJSON *dateCodes = cJSON_GetObjectItem(daily, "time");
    	if (dateCodes && cJSON_IsArray(dateCodes))
    	{
    		for (int i = 0; i < 7; i++)
    	    {
    	        cJSON *dates = cJSON_GetArrayItem(dateCodes, i);
    	        if (dates)
    	        {
    	        	date[dateIndex++] = strdup(dates->valuestring);
    	        }
    	    }
    	}
        if (weatherCodes && cJSON_IsArray(weatherCodes))
        {
            for (int i = 0; i < 7; i++)
            {
                cJSON *code = cJSON_GetArrayItem(weatherCodes, i);
                if (code)
                {
                    weather[weatherIndex++] = code->valueint;
                }
            }
        }
    }
    processComplete = 1;
    cJSON_Delete(root);
}

void HAL_GPIO_EXTI_Callback(uint16_t GPIO_Pin)
{
	if (GPIO_Pin != T_IRQ_Pin) return;

	if (!XPT2046_TouchPressed() || !allowTouch) return;

	if (!XPT2046_TouchGetCoordinates(&xCoordinates, &yCoordinates)) return;

	xCoordinates = 240 - xCoordinates;
	yCoordinates = 320 - yCoordinates;
	if (wifiList == 1)
	{
		handleWifiListTouch();
	}
	else if (wifiConnect == 1)
	{
		handleKeyboardTouch();
	}
	else
	{
		checkCoordinates();
	}
	allowTouch = false;
}

void resetBuffer()
{
	for (int i = 0; i <= BUFFER_SIZE; i++)
	{
		rxBuffer[i] = 0;
	}
}

void resetPassword()
{
	passwordIndex = 0;
	memset(selectedSSID, 0, sizeof(selectedSSID));
	memset(wifiPassword, 0, sizeof(wifiPassword));
	memset(wifiConnectionInfo, 0, sizeof(wifiConnectionInfo));
}
/* USER CODE END 4 */

void Error_Handler(void)
{
  __disable_irq();
  while (1)
  {
  }
}
